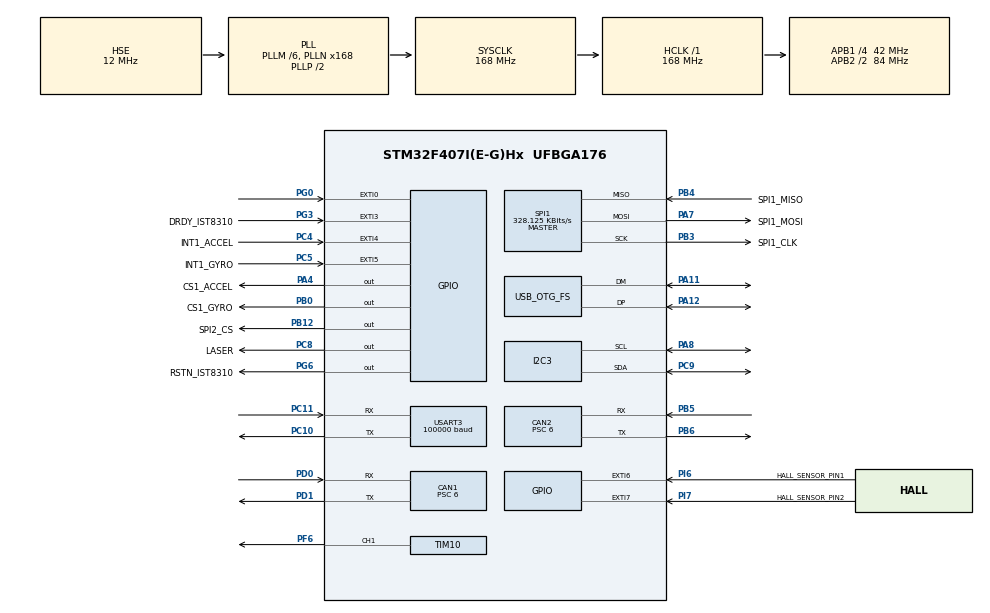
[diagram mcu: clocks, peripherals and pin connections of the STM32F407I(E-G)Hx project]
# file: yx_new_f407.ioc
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CAN1.ABOM=ENABLE
CAN1.BS1=CAN_BS1_5TQ
CAN1.CalculateBaudRate=1000000
CAN1.CalculateTimeBit=1000
CAN1.CalculateTimeQuantum=142.85714285714286
CAN1.Prescaler=6
CAN2.ABOM=ENABLE
CAN2.BS1=CAN_BS1_5TQ
CAN2.CalculateBaudRate=1000000
CAN2.CalculateTimeBit=1000
CAN2.CalculateTimeQuantum=142.85714285714286
CAN2.Prescaler=6
Dma.Request0=USART3_RX
Dma.Request1=SPI1_RX
Dma.Request2=SPI1_TX
Dma.SPI1_RX.1.Direction=DMA_PERIPH_TO_MEMORY
Dma.SPI1_RX.1.FIFOMode=DMA_FIFOMODE_DISABLE
Dma.SPI1_RX.1.Instance=DMA2_Stream2
Dma.SPI1_RX.1.MemDataAlignment=DMA_MDATAALIGN_BYTE
Dma.SPI1_RX.1.MemInc=DMA_MINC_ENABLE
Dma.SPI1_RX.1.Mode=DMA_NORMAL
Dma.SPI1_RX.1.PeriphDataAlignment=DMA_PDATAALIGN_BYTE
Dma.SPI1_RX.1.PeriphInc=DMA_PINC_DISABLE
Dma.SPI1_RX.1.Priority=DMA_PRIORITY_VERY_HIGH
Dma.SPI1_TX.2.Direction=DMA_MEMORY_TO_PERIPH
Dma.SPI1_TX.2.FIFOMode=DMA_FIFOMODE_DISABLE
Dma.SPI1_TX.2.Instance=DMA2_Stream3
Dma.SPI1_TX.2.MemDataAlignment=DMA_MDATAALIGN_BYTE
Dma.SPI1_TX.2.MemInc=DMA_MINC_ENABLE
Dma.SPI1_TX.2.Mode=DMA_NORMAL
Dma.SPI1_TX.2.PeriphDataAlignment=DMA_PDATAALIGN_BYTE
Dma.SPI1_TX.2.PeriphInc=DMA_PINC_DISABLE
Dma.SPI1_TX.2.Priority=DMA_PRIORITY_HIGH
Dma.USART3_RX.0.Direction=DMA_PERIPH_TO_MEMORY
Dma.USART3_RX.0.FIFOMode=DMA_FIFOMODE_DISABLE
Dma.USART3_RX.0.Instance=DMA1_Stream1
Dma.USART3_RX.0.MemDataAlignment=DMA_MDATAALIGN_BYTE
Dma.USART3_RX.0.MemInc=DMA_MINC_ENABLE
Dma.USART3_RX.0.Mode=DMA_NORMAL
Dma.USART3_RX.0.PeriphDataAlignment=DMA_PDATAALIGN_BYTE
Dma.USART3_RX.0.PeriphInc=DMA_PINC_DISABLE
Dma.USART3_RX.0.Priority=DMA_PRIORITY_MEDIUM
FREERTOS.Tasks01=defaultTask,24,256,StartDefaultTask,Default,NULL,Dynamic,NULL,NULL;auto_shoot,24,256,StartTask02,As external,NULL,Dynamic,NULL,NULL;sendmessage,8,512,Sendmessage,As external,NULL,Dynamic,NULL,NULL
FREERTOS.configMINIMAL_STACK_SIZE=256
I2C3.I2C_Mode=I2C_Fast
Mcu.Family=STM32F4
Mcu.Name=STM32F407I(E-G)Hx
Mcu.Package=UFBGA176
NVIC.CAN1_RX0_IRQn=true\:5\:0\:false\:false\:true\:true\:true\:true\:true
NVIC.CAN2_RX1_IRQn=true\:5\:0\:false\:false\:true\:true\:true\:true\:true
NVIC.DMA1_Stream1_IRQn=true\:5\:0\:false\:false\:true\:true\:false\:true\:true
NVIC.DMA2_Stream2_IRQn=true\:5\:0\:false\:false\:true\:true\:false\:true\:true
NVIC.DMA2_Stream3_IRQn=true\:5\:0\:false\:false\:true\:true\:false\:true\:true
NVIC.OTG_FS_IRQn=true\:5\:0\:false\:false\:true\:true\:false\:true\:true
NVIC.PriorityGroup=NVIC_PRIORITYGROUP_4
NVIC.TIM2_IRQn=true\:15\:0\:false\:false\:true\:false\:false\:true\:true
NVIC.TIM3_IRQn=true\:5\:0\:false\:false\:true\:true\:true\:true\:true
NVIC.TIM4_IRQn=true\:5\:0\:false\:true\:true\:1\:true\:true\:true\:true
NVIC.TimeBase=TIM2_IRQn
NVIC.TimeBaseIP=TIM2
NVIC.USART3_IRQn=true\:5\:0\:false\:false\:true\:true\:true\:true\:true
PA11.Mode=Device_Only
PA11.Signal=USB_OTG_FS_DM
PA12.Mode=Device_Only
PA12.Signal=USB_OTG_FS_DP
PA13.Mode=Serial_Wire
PA13.Signal=SYS_JTMS-SWDIO
PA14.Mode=Serial_Wire
PA14.Signal=SYS_JTCK-SWCLK
PA4.GPIO_Label=CS1_ACCEL
PA4.GPIO_Speed=GPIO_SPEED_FREQ_HIGH
PA4.PinState=GPIO_PIN_SET
PA4.Signal=GPIO_Output
PA7.GPIO_Label=SPI1_MOSI
PA7.Mode=Full_Duplex_Master
PA7.Signal=SPI1_MOSI
PA8.Mode=I2C
PA8.Signal=I2C3_SCL
PB0.GPIO_Label=CS1_GYRO
PB0.GPIO_Speed=GPIO_SPEED_FREQ_HIGH
PB0.PinState=GPIO_PIN_SET
PB0.Signal=GPIO_Output
PB12.GPIO_Label=SPI2_CS
PB12.GPIO_Speed=GPIO_SPEED_FREQ_MEDIUM
PB12.PinState=GPIO_PIN_SET
PB12.Signal=GPIO_Output
PB3.GPIO_Label=SPI1_CLK
PB3.Mode=Full_Duplex_Master
PB3.Signal=SPI1_SCK
PB4.GPIO_Label=SPI1_MISO
PB4.Mode=Full_Duplex_Master
PB4.Signal=SPI1_MISO
PB5.Mode=CAN_Activate
PB5.Signal=CAN2_RX
PB6.Mode=CAN_Activate
PB6.Signal=CAN2_TX
PC10.Mode=Asynchronous
PC10.Signal=USART3_TX
PC11.Mode=Asynchronous
PC11.Signal=USART3_RX
PC14-OSC32_IN.Mode=LSE-External-Oscillator
PC14-OSC32_IN.Signal=RCC_OSC32_IN
PC15-OSC32_OUT.Mode=LSE-External-Oscillator
PC15-OSC32_OUT.Signal=RCC_OSC32_OUT
PC4.GPIO_Label=INT1_ACCEL
PC4.GPIO_PuPd=GPIO_PULLUP
PC4.Signal=GPXTI4
PC5.GPIO_Label=INT1_GYRO
PC5.GPIO_PuPd=GPIO_PULLUP
PC5.Signal=GPXTI5
PC8.GPIO_Label=LASER
PC8.Signal=GPIO_Output
PC9.Mode=I2C
PC9.Signal=I2C3_SDA
PD0.Mode=CAN_Activate
PD0.Signal=CAN1_RX
PD1.Mode=CAN_Activate
PD1.Signal=CAN1_TX
PF6.Signal=S_TIM10_CH1
PG0.GPIO_PuPd=GPIO_PULLUP
PG0.Signal=GPXTI0
PG3.GPIO_Label=DRDY_IST8310
PG3.GPIO_PuPd=GPIO_PULLUP
PG3.Signal=GPXTI3
PG6.GPIO_Label=RSTN_IST8310
PG6.GPIO_PuPd=GPIO_PULLUP
PG6.GPIO_Speed=GPIO_SPEED_FREQ_MEDIUM
PG6.PinState=GPIO_PIN_SET
PG6.Signal=GPIO_Output
PH0-OSC_IN.Mode=HSE-External-Oscillator
PH0-OSC_IN.Signal=RCC_OSC_IN
PH1-OSC_OUT.Mode=HSE-External-Oscillator
PH1-OSC_OUT.Signal=RCC_OSC_OUT
PI6.GPIO_Label=HALL_SENSOR_PIN1
PI6.Signal=GPXTI6
PI7.GPIO_Label=HALL_SENSOR_PIN2
PI7.Signal=GPXTI7
ProjectManager.HeapSize=0x200
ProjectManager.StackSize=0x400
ProjectManager.TargetToolchain=CMake
RCC.48MHZClocksFreq_Value=48000000
RCC.AHBFreq_Value=168000000
RCC.APB1CLKDivider=RCC_HCLK_DIV4
RCC.APB1Freq_Value=42000000
RCC.APB1TimFreq_Value=84000000
RCC.APB2CLKDivider=RCC_HCLK_DIV2
RCC.APB2Freq_Value=84000000
RCC.APB2TimFreq_Value=168000000
RCC.CortexFreq_Value=168000000
RCC.HCLKFreq_Value=168000000
RCC.HSE_VALUE=12000000
RCC.HSI_VALUE=16000000
RCC.PLLM=6
RCC.PLLN=168
RCC.PLLQ=7
RCC.SYSCLKFreq_VALUE=168000000
RCC.SYSCLKSource=RCC_SYSCLKSOURCE_PLLCLK
RCC.VCOOutputFreq_Value=336000000
SH.S_TIM10_CH1.0=TIM10_CH1,PWM Generation1 CH1
SPI1.BaudRatePrescaler=SPI_BAUDRATEPRESCALER_256
SPI1.CLKPhase=SPI_PHASE_2EDGE
SPI1.CLKPolarity=SPI_POLARITY_HIGH
SPI1.CalculateBaudRate=328.125 KBits/s
SPI1.Direction=SPI_DIRECTION_2LINES
SPI1.Mode=SPI_MODE_MASTER
SPI1.VirtualType=VM_MASTER
STMicroelectronics.X-CUBE-ALGOBUILD.1.4.0.LibraryCcDSPOoLibraryJjDSPOoLibrary=true
TIM10.Channel=TIM_CHANNEL_1
TIM10.Period=4999
TIM3.AutoReloadPreload=TIM_AUTORELOAD_PRELOAD_ENABLE
TIM3.Period=19
TIM3.Prescaler=16799
TIM4.AutoReloadPreload=TIM_AUTORELOAD_PRELOAD_ENABLE
TIM4.Period=417
TIM4.Prescaler=1679
USART3.BaudRate=100000
USART3.Parity=PARITY_EVEN
USART3.StopBits=STOPBITS_2
USART3.VirtualMode=VM_ASYNC
USART3.WordLength=WORDLENGTH_9B
USB_DEVICE.CLASS_NAME_FS=CDC
USB_DEVICE.VirtualMode-CDC_FS=Cdc
USB_DEVICE.VirtualModeFS=Cdc_FS
USB_OTG_FS.VirtualMode=Device_Only
VP_FREERTOS_VS_CMSIS_V2.Mode=CMSIS_V2
VP_STMicroelectronics.X-CUBE-ALGOBUILD_VS_DSPOoLibraryJjLibrary_1.4.0_1.4.0.Mode=DSPOoLibraryJjLibrary
VP_SYS_VS_tim2.Mode=TIM2
VP_TIM10_VS_ClockSourceINT.Mode=Enable_Timer
VP_TIM3_VS_ClockSourceINT.Mode=Internal
VP_TIM4_VS_ClockSourceINT.Mode=Internal
VP_USB_DEVICE_VS_USB_DEVICE_CDC_FS.Mode=CDC_FS
board=custom

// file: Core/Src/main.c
/* USER CODE BEGIN Header */
/**
  ******************************************************************************
  * @file           : main.c
  * @brief          : Main program body
  ******************************************************************************
  * @attention
  *
  * Copyright (c) 2024 STMicroelectronics.
  * All rights reserved.
  *
  * This software is licensed under terms that can be found in the LICENSE file
  * in the root directory of this software component.
  * If no LICENSE file comes with this software, it is provided AS-IS.
  *
  ******************************************************************************
  */
/* USER CODE END Header */
#include "main.h"
#include "cmsis_os.h"
#include "can.h"
#include "dma.h"
#include "i2c.h"
#include "spi.h"
#include "tim.h"
#include "usart.h"
#include "usb_device.h"
#include "gpio.h"

/* USER CODE BEGIN Includes */
#include "bsp_can.h"
#include "bsp_uart.h"
#include "motorCmd.h"
#include "damiao.h"
#include "BMI088driver.h"
#include "bsp_dwt.h"
/* USER CODE END Includes */

/* USER CODE BEGIN PD */
SBUS_Buffer SBUS;
uint8_t SBUS_RXBuffer[25];

motorReceiveInfo M3508Friction[3];
motorReceiveInfo M3508Load;
motorReceiveInfo M2006Pushrop;
motorReceiveInfo M6020Yaw;
down_receve      down_receve1;
damiao_recieve damiao_recieve_pitch;
damiao_recieve damiao_recieve_yaw;
extern float sin_signal;
extern gambleState gamble_state;

/* USER CODE END PD */

void SystemClock_Config(void);
void MX_FREERTOS_Init(void);
static void MX_NVIC_Init(void);

int main(void)
{

  /* MCU Configuration--------------------------------------------------------*/

  /* Reset of all peripherals, Initializes the Flash interface and the Systick. */
  HAL_Init();

  /* Configure the system clock */
  SystemClock_Config();

  /* Initialize all configured peripherals */
  MX_GPIO_Init();
  MX_DMA_Init();
  MX_CAN1_Init();
  MX_CAN2_Init();
  MX_USART3_UART_Init();
  MX_TIM3_Init();
  MX_SPI1_Init();
  MX_I2C3_Init();
  MX_TIM10_Init();
  MX_TIM4_Init();

  /* Initialize interrupts */
  MX_NVIC_Init();
  /* USER CODE BEGIN 2 */
  DWT_Init(168);
   while (BMI088_init(&hspi1, 1) != BMI088_NO_ERROR);

  HAL_UARTEx_ReceiveToIdle_DMA(&huart3,SBUS_RXBuffer,25);

   __HAL_DMA_DISABLE_IT(huart3.hdmarx ,DMA_IT_HT );  //防止接收到一半就停止，跟上一句一定要配套�????????
   __HAL_UART_ENABLE_IT(&huart3, UART_IT_IDLE); //使能IDLE中断

  HAL_TIM_Base_Start_IT(&htim3);
   HAL_TIM_Base_Start_IT(&htim4);

  BspCan1Init();
  BspCan2Init() ;

   HAL_Delay(100);

  //推杆回�??�????3位置
  // while(M2006Pushrop.given_current >1000)//大于某个说明到底�????
  // {

  // }
  /******************/
  pushrot_M2006_positionTarget = M2006Pushrop.ecd;
  Load_M3508_positionTarget = M3508Load.ecd;
  pushrot_M2006_positionTarget=M2006Pushrop.ecd;
  pitch4310_positiontarget  = INS.Pitch;
  Yaw4310_positionTarget    = INS.Yaw;
  gamble_state.bullet = 1;
  gamble_state.pushrot_position = 2;

  /* USER CODE END 2 */

  /* Init scheduler */
  osKernelInitialize();

  /* Call init function for freertos objects (in cmsis_os2.c) */
  MX_FREERTOS_Init();

  /* Start scheduler */
  osKernelStart();

  /* We should never get here as control is now taken by the scheduler */

  /* Infinite loop */
  while (1)
  {

    /* USER CODE BEGIN 3 */

    //cmd_M3508Friction_angle(target);

   // cmd_M3508Friction_speed(target);

    HAL_Delay(2);
  }
  /* USER CODE END 3 */
}

void SystemClock_Config(void)
{
  RCC_OscInitTypeDef RCC_OscInitStruct = {0};
  RCC_ClkInitTypeDef RCC_ClkInitStruct = {0};

  /** Configure the main internal regulator output voltage
  */
  __HAL_RCC_PWR_CLK_ENABLE();
  __HAL_PWR_VOLTAGESCALING_CONFIG(PWR_REGULATOR_VOLTAGE_SCALE1);

  /** Initializes the RCC Oscillators according to the specified parameters
  * in the RCC_OscInitTypeDef structure.
  */
  RCC_OscInitStruct.OscillatorType = RCC_OSCILLATORTYPE_HSE;
  RCC_OscInitStruct.HSEState = RCC_HSE_ON;
  RCC_OscInitStruct.PLL.PLLState = RCC_PLL_ON;
  RCC_OscInitStruct.PLL.PLLSource = RCC_PLLSOURCE_HSE;
  RCC_OscInitStruct.PLL.PLLM = 6;
  RCC_OscInitStruct.PLL.PLLN = 168;
  RCC_OscInitStruct.PLL.PLLP = RCC_PLLP_DIV2;
  RCC_OscInitStruct.PLL.PLLQ = 7;
  if (HAL_RCC_OscConfig(&RCC_OscInitStruct) != HAL_OK)
  {
    Error_Handler();
  }

  /** Initializes the CPU, AHB and APB buses clocks
  */
  RCC_ClkInitStruct.ClockType = RCC_CLOCKTYPE_HCLK|RCC_CLOCKTYPE_SYSCLK
                              |RCC_CLOCKTYPE_PCLK1|RCC_CLOCKTYPE_PCLK2;
  RCC_ClkInitStruct.SYSCLKSource = RCC_SYSCLKSOURCE_PLLCLK;
  RCC_ClkInitStruct.AHBCLKDivider = RCC_SYSCLK_DIV1;
  RCC_ClkInitStruct.APB1CLKDivider = RCC_HCLK_DIV4;
  RCC_ClkInitStruct.APB2CLKDivider = RCC_HCLK_DIV2;

  if (HAL_RCC_ClockConfig(&RCC_ClkInitStruct, FLASH_LATENCY_5) != HAL_OK)
  {
    Error_Handler();
  }
}

/**
  * @brief NVIC Configuration.
  * @retval None
  */
static void MX_NVIC_Init(void)
{
  /* TIM4_IRQn interrupt configuration */
  HAL_NVIC_SetPriority(TIM4_IRQn, 5, 0);
  HAL_NVIC_EnableIRQ(TIM4_IRQn);
}

void HAL_TIM_PeriodElapsedCallback(TIM_HandleTypeDef *htim)
{
  if (htim->Instance == TIM2) {
    HAL_IncTick();
  }
  /* USER CODE BEGIN Callback 1 */
  if(htim->Instance == TIM4)
  {
    count1();
  }
  /* USER CODE END Callback 1 */
}

void Error_Handler(void)
{
  __disable_irq();
  while (1)
  {
  }
}

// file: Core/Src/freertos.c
/* USER CODE BEGIN Header */
/**
  ******************************************************************************
  * File Name          : freertos.c
  * Description        : Code for freertos applications
  ******************************************************************************
  * @attention
  *
  * Copyright (c) 2024 STMicroelectronics.
  * All rights reserved.
  *
  * This software is licensed under terms that can be found in the LICENSE file
  * in the root directory of this software component.
  * If no LICENSE file comes with this software, it is provided AS-IS.
  *
  ******************************************************************************
  */
/* USER CODE END Header */

#include "FreeRTOS.h"
#include "task.h"
#include "main.h"
#include "cmsis_os.h"

/* USER CODE BEGIN Includes */
#include "tasks.h"
/* USER CODE END Includes */

/* Definitions for defaultTask */
osThreadId_t defaultTaskHandle;
const osThreadAttr_t defaultTask_attributes = {
  .name = "defaultTask",
  .stack_size = 256 * 4,
  .priority = (osPriority_t) osPriorityNormal,
};
/* Definitions for auto_shoot */
osThreadId_t auto_shootHandle;
const osThreadAttr_t auto_shoot_attributes = {
  .name = "auto_shoot",
  .stack_size = 256 * 4,
  .priority = (osPriority_t) osPriorityNormal,
};
/* Definitions for sendmessage */
osThreadId_t sendmessageHandle;
const osThreadAttr_t sendmessage_attributes = {
  .name = "sendmessage",
  .stack_size = 512 * 4,
  .priority = (osPriority_t) osPriorityLow,
};

void StartDefaultTask(void *argument);
extern void StartTask02(void *argument);
extern void Sendmessage(void *argument);

extern void MX_USB_DEVICE_Init(void);
void MX_FREERTOS_Init(void); /* (MISRA C 2004 rule 8.1) */

void MX_FREERTOS_Init(void) {

  /* Create the thread(s) */
  /* creation of defaultTask */
  defaultTaskHandle = osThreadNew(StartDefaultTask, NULL, &defaultTask_attributes);

  /* creation of auto_shoot */
  auto_shootHandle = osThreadNew(StartTask02, NULL, &auto_shoot_attributes);

  /* creation of sendmessage */
  sendmessageHandle = osThreadNew(Sendmessage, NULL, &sendmessage_attributes);

}

void StartDefaultTask(void *argument)
{
  /* init code for USB_DEVICE */
  MX_USB_DEVICE_Init();
  /* USER CODE BEGIN StartDefaultTask */
  /* Infinite loop */
  for(;;)
  {
    int16_t a;
    a++;
    osDelay(1);
  }
  /* USER CODE END StartDefaultTask */
}
